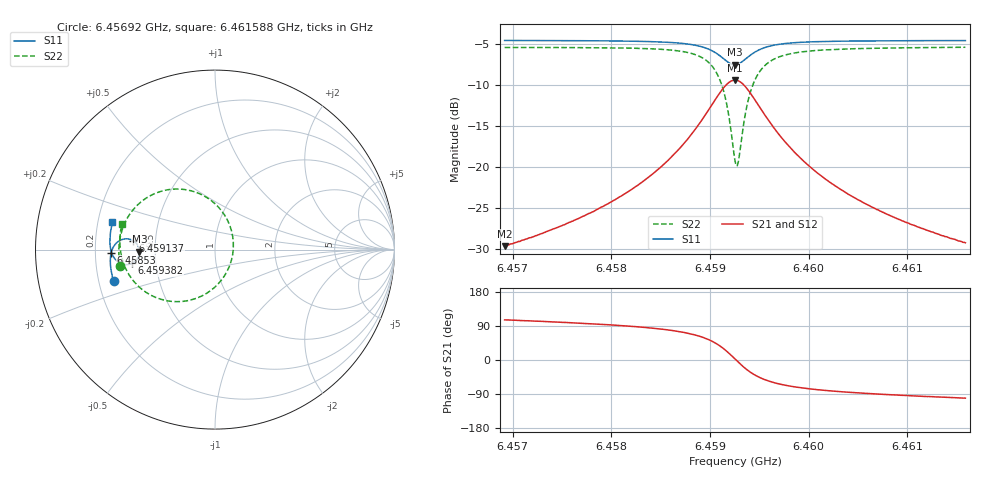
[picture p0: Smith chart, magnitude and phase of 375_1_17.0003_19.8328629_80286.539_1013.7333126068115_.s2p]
#  HZ  S  RI  R  50.00
! Rohde & Schwarz Vector Network Analyzer
! Rohde-Schwarz,ZNB20-2Port,1311601062101988,3.16
! Created: UTC 3/20/2024, 11:08:53 PM
! freq[Hz]  re:S11  im:S11  re:S21  im:S21  re:S12  im:S12  re:S22  im:S22
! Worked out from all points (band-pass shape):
!   401 points, 6.45692 GHz to 6.461588 GHz, reference 50 ohm
!   highest |S21| = -9.38 dB at 6.459254 GHz (marker M1); lowest = -29.6 dB at 6.45692 GHz (marker M2)
!   |S21| within 3 dB of the highest: 6.45902 GHz to 6.459487 GHz (467 kHz wide, 0.00723 % of centre)
!   lowest |S11| = -7.5 dB at 6.459254 GHz (marker M3), VSWR 2.45, Z = 20.4 - j0.571 ohm
!   |S11| at or under -10 dB: nowhere
!   |S22| runs from -19.8 to -5.4 dB; largest |S21 - S12| = 0.013
!   S11 on the Smith chart (normalised r, x): 6.45692 GHz: 0.26, -0.14; 6.45853 GHz: 0.27, -0.01; 6.459137 GHz: 0.37, +0.05; 6.459382 GHz: 0.36, -0.07; 6.461588 GHz: 0.26, +0.12
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6.4569197e9  -0.5652 -0.1766  -0.00902 0.0318  -0.00735 0.0318  -0.5291 -0.0895
6.4577016e9  -0.58 -0.1086  -0.00588 0.0495  -0.0034 0.0489  -0.5356 0.0006
6.4581217e9  -0.5832 -0.067  -0.000472 0.068  0.00273 0.0668  -0.5288 0.0657
6.4584835e9  -0.5798 -0.0244  0.0133 0.0971  0.0171 0.0945  -0.5038 0.1451
6.4585301e9  -0.5784 -0.0179  0.0166 0.1025  0.0206 0.0996  -0.4979 0.1583
6.4587402e9  -0.5666 0.0139  0.042 0.1339  0.0462 0.1291  -0.4501 0.2293
6.4588919e9  -0.5455 0.0401  0.0839 0.1638  0.0875 0.1574  -0.3731 0.2931
6.4590436e9  -0.5001 0.06  0.1744 0.1829  0.1755 0.1757  -0.208 0.3374
6.459137e9  -0.4563 0.0502  0.2629 0.1528  0.2631 0.1467  -0.0445 0.2893
6.4591836e9  -0.4354 0.0316  0.306 0.1108  0.3072 0.1054  0.0375 0.215
6.4592537e9  -0.4207 -0.0115  0.3392 0.0157  0.3427 0.00881  0.1021 0.039
6.459277e9  -0.4224 -0.0272  0.3373 -0.019  0.3411 -0.0272  0.0987 -0.0265
6.4592887e9  -0.4245 -0.0347  0.334 -0.0359  0.3375 -0.0448  0.0917 -0.0585
6.4593354e9  -0.4398 -0.0604  0.3063 -0.095  0.3083 -0.1065  0.0359 -0.1696
6.459382e9  -0.4614 -0.0764  0.265 -0.1356  0.2642 -0.1485  -0.0468 -0.2437
6.4594754e9  -0.5041 -0.0831  0.1818 -0.1666  0.1758 -0.1778  -0.2121 -0.29
6.4596271e9  -0.5473 -0.0626  0.0953 -0.1535  0.0871 -0.1596  -0.377 -0.2426
6.4597905e9  -0.5687 -0.0351  0.0511 -0.1262  0.0436 -0.129  -0.4564 -0.172
6.4600355e9  -0.5811 0.00044  0.0223 -0.0954  0.0167 -0.0961  -0.5041 -0.0911
6.460374e9  -0.5856 0.0404  0.00663 -0.0698  0.00267 -0.0695  -0.5251 -0.0149
6.4608174e9  -0.5836 0.0847  -0.00134 -0.0509  -0.00412 -0.0501  -0.5298 0.0551
6.4615876e9  -0.5711 0.1527  -0.00644 -0.034  -0.00801 -0.0331  -0.5184 0.1449
